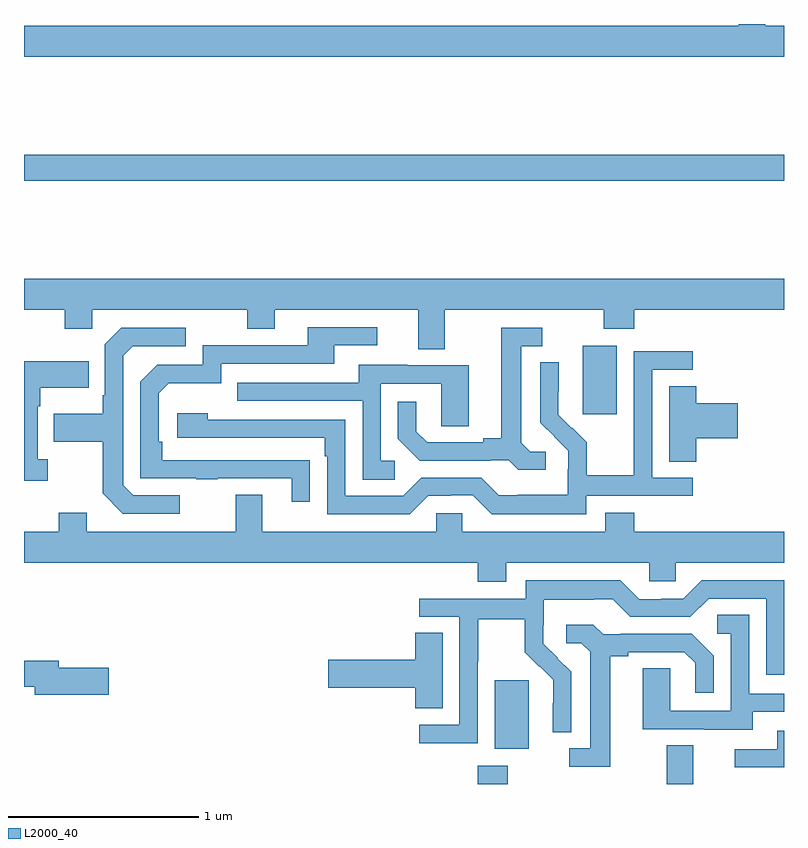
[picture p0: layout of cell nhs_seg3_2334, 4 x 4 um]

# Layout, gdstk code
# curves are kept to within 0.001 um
import gdstk
lib = gdstk.Library(unit=1e-6, precision=1e-09)
def R(c, l, rs):  # rectangles x0, y0, x1, y1
    for r in rs: c.add(gdstk.rectangle(r[:2], r[2:], *l))
def P(c, l, *ps):  # polygons
    for p in ps: c.add(gdstk.Polygon(p, *l))
L2000_40 = (2000, 40)

nhs_seg3_2334 = lib.new_cell('nhs_seg3_2334')
R(nhs_seg3_2334, L2000_40, [(233.387,718.4,233.547,718.495), (234.383,718.4,234.523,718.604), (233.477,718.586,233.656,718.947), (233.942,720.345,234.121,720.706), (231,721.576,235,721.712)])
P(nhs_seg3_2334, L2000_40, [(235,722.392),(234.901,722.392),(234.901,722.4),(234.761,722.4),(234.761,722.392),(231,722.392),(231,722.228),(235,722.228)],
  [(233.215,720.896),(234.052,720.896),(234.052,720.797),(234.212,720.797),(234.212,720.896),(235,720.896),(235,721.06),(231,721.06),(231,720.896),(231.214,720.896),(231.214,720.797),(231.36,720.797),(231.36,720.896),(232.174,720.896),(232.174,720.797),(232.321,720.797),(232.321,720.896),(233.075,720.896),(233.075,720.688),(233.215,720.688)],
  [(232.505,720.104),(231.728,720.105),(231.728,720.202),(231.708,720.202),(231.708,720.456),(231.761,720.509),(232.038,720.509),(232.038,720.612),(232.633,720.612),(232.633,720.708),(232.858,720.708),(232.858,720.804),(232.493,720.804),(232.493,720.708),(231.942,720.708),(231.942,720.606),(231.702,720.606),(231.612,720.516),(231.612,720.009),(231.907,720.009),(231.907,720.004),(232.019,720.004),(232.019,720.009),(232.409,720.009),(232.409,719.886),(232.505,719.886)],
  [(233.746,720.15),(233.664,720.15),(233.617,720.197),(233.617,720.705),(233.728,720.705),(233.728,720.801),(233.513,720.801),(233.513,720.221),(233.417,720.221),(233.417,720.198),(233.122,720.198),(233.065,720.255),(233.065,720.412),(232.968,720.412),(232.968,720.218),(233.084,720.102),(233.456,720.102),(233.456,720.105),(233.55,720.105),(233.602,720.053),(233.746,720.053)],
  [(231.82,719.919),(231.576,719.919),(231.522,719.973),(231.522,720.654),(231.573,720.705),(231.85,720.705),(231.85,720.801),(231.513,720.801),(231.426,720.714),(231.426,720.445),(231.414,720.445),(231.414,720.349),(231.157,720.349),(231.157,720.202),(231.414,720.202),(231.414,719.929),(231.519,719.823),(231.82,719.823)],
  [(233.958,719.916),(234.52,719.916),(234.52,720.012),(234.306,720.012),(234.306,720.579),(234.52,720.579),(234.52,720.678),(234.21,720.678),(234.21,720.248),(234.208,720.248),(234.208,720.025),(233.963,720.025),(233.963,720.199),(233.886,720.276),(233.883,720.273),(233.813,720.344),(233.814,720.62),(233.718,720.62),(233.718,720.302),(233.864,720.154),(233.864,720.057),(233.862,720.057),(233.862,719.923),(233.599,719.923),(233.599,719.919),(233.499,719.919),(233.406,720.012),(233.091,720.012),(232.995,719.916),(232.692,719.916),(232.692,720.318),(231.968,720.318),(231.968,720.352),(231.807,720.352),(231.807,720.222),(232.583,720.222),(232.583,720.125),(232.596,720.125),(232.596,719.82),(233.031,719.82),(233.127,719.916),(233.246,719.916),(233.246,719.919),(233.361,719.919),(233.461,719.819),(233.958,719.819)],
  [(231.124,720.11),(231.072,720.11),(231.072,720.389),(231.085,720.389),(231.085,720.485),(231.341,720.485),(231.341,720.625),(231,720.625),(231,719.997),(231.124,719.997)],
  [(232.951,720.102),(232.878,720.102),(232.878,720.507),(233.196,720.507),(233.196,720.283),(233.341,720.283),(233.341,720.603),(233.017,720.603),(233.017,720.607),(232.763,720.607),(232.763,720.513),(232.123,720.513),(232.123,720.417),(232.782,720.417),(232.782,720.001),(232.951,720.001)],
  [(234.539,720.221),(234.757,720.221),(234.757,720.404),(234.539,720.404),(234.539,720.494),(234.395,720.494),(234.395,720.097),(234.539,720.097)],
  [(233.387,719.465),(233.539,719.465),(233.539,719.564),(234.291,719.564),(234.291,719.466),(234.429,719.466),(234.429,719.564),(235,719.564),(235,719.728),(234.212,719.728),(234.212,719.827),(234.059,719.827),(234.059,719.728),(233.307,719.728),(233.307,719.826),(233.169,719.826),(233.169,719.728),(232.255,719.728),(232.255,719.923),(232.115,719.923),(232.115,719.728),(231.331,719.728),(231.331,719.827),(231.184,719.827),(231.184,719.728),(231,719.728),(231,719.564),(233.387,719.564)],
  [(233.388,719.044),(233.391,719.044),(233.391,719.268),(233.635,719.268),(233.635,719.093),(233.712,719.016),(233.715,719.019),(233.786,718.949),(233.786,718.826),(233.784,718.826),(233.784,718.672),(233.88,718.672),(233.88,718.99),(233.734,719.138),(233.734,719.235),(233.736,719.235),(233.736,719.369),(233.999,719.369),(233.999,719.373),(234.099,719.373),(234.192,719.28),(234.507,719.28),(234.603,719.376),(234.906,719.376),(234.906,718.974),(235,718.974),(235,719.472),(234.567,719.472),(234.471,719.376),(234.353,719.376),(234.353,719.373),(234.237,719.373),(234.137,719.473),(233.64,719.473),(233.64,719.376),(233.079,719.376),(233.079,719.28),(233.292,719.28),(233.292,718.713),(233.079,718.713),(233.079,718.615),(233.388,718.615)],
  [(234.835,718.779),(235,718.779),(235,718.875),(234.816,718.875),(234.816,719.291),(234.648,719.291),(234.648,719.19),(234.72,719.19),(234.72,718.785),(234.402,718.785),(234.402,719.009),(234.257,719.009),(234.257,718.689),(234.581,718.689),(234.581,718.685),(234.835,718.685)],
  [(234.085,719.072),(234.181,719.072),(234.181,719.094),(234.476,719.094),(234.533,719.037),(234.533,718.881),(234.63,718.881),(234.63,719.074),(234.514,719.19),(234.142,719.19),(234.142,719.187),(234.048,719.187),(233.996,719.239),(233.853,719.239),(233.853,719.142),(233.934,719.142),(233.981,719.095),(233.981,718.587),(233.871,718.587),(233.871,718.491),(234.085,718.491)],
  [(233.203,719.195),(233.06,719.195),(233.06,719.054),(232.602,719.054),(232.602,718.907),(233.06,718.907),(233.06,718.798),(233.203,718.798)],
  [(231.445,719.012),(231.184,719.012),(231.184,719.048),(231,719.048),(231,718.912),(231.056,718.912),(231.056,718.87),(231.445,718.87)],
  [(235,718.68),(234.965,718.68),(234.965,718.584),(234.741,718.584),(234.741,718.488),(235,718.488)])

lib.write_gds('nhs_seg3_2334.gds')
